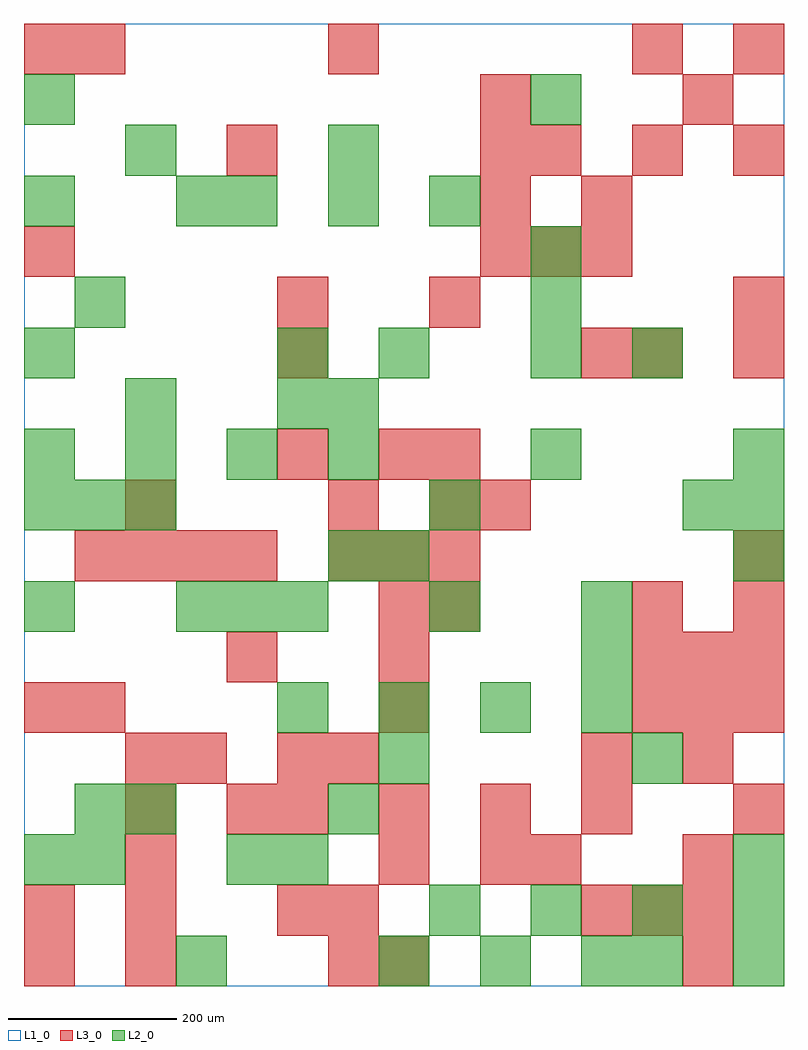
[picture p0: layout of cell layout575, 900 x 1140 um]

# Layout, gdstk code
import gdstk
lib = gdstk.Library(unit=1e-6, precision=1e-09)
def R(c, l, rs):  # rectangles x0, y0, x1, y1
    for r in rs: c.add(gdstk.rectangle(r[:2], r[2:], *l))
def A(c, l, x, y, w, h, nx, ny, dx, dy):  # array of equal rectangles
    R(c, l, [(x+i*dx, y+j*dy, x+i*dx+w, y+j*dy+h) for i in range(nx) for j in range(ny)])
L1_0 = (1, 0)
L2_0 = (2, 0)
L3_0 = (3, 0)

layout575 = lib.new_cell('layout575')
R(layout575, L1_0, [(0,0,900,1140)])
A(layout575, L2_0, 420, 0, 60, 60, 3, 1, 120, 0)
A(layout575, L2_0, 480, 60, 60, 60, 4, 1, 120, 0)
A(layout575, L2_0, 0, 120, 60, 60, 1, 3, 0, 300)
A(layout575, L2_0, 420, 240, 60, 60, 1, 3, 0, 240)
A(layout575, L2_0, 300, 300, 60, 60, 4, 1, 120, 0)
A(layout575, L2_0, 180, 420, 60, 60, 3, 1, 60, 0)
A(layout575, L2_0, 840, 480, 60, 60, 1, 3, 0, 60)
A(layout575, L2_0, 0, 540, 60, 60, 3, 1, 60, 0)
A(layout575, L2_0, 0, 600, 60, 60, 4, 1, 120, 0)
A(layout575, L2_0, 600, 720, 60, 60, 1, 3, 0, 60)
A(layout575, L2_0, 240, 900, 60, 60, 3, 1, 120, 0)
R(layout575, L2_0, [(180,0,240,60), (720,0,780,60), (840,0,900,60), (60,120,120,180), (240,120,300,180), (300,120,360,180), (840,120,900,180), (60,180,120,240), (120,180,180,240), (360,180,420,240), (720,240,780,300), (660,360,720,420), (480,420,540,480), (660,420,720,480), (360,480,420,540), (480,540,540,600), (780,540,840,600), (600,600,660,660), (120,660,180,720), (300,660,360,720), (360,660,420,720), (300,720,360,780), (720,720,780,780), (60,780,120,840), (0,900,60,960), (180,900,240,960), (120,960,180,1020), (360,960,420,1020), (0,1020,60,1080), (600,1020,660,1080)])
A(layout575, L3_0, 120, 0, 60, 60, 1, 5, 0, 60)
A(layout575, L3_0, 780, 0, 60, 60, 1, 3, 0, 120)
A(layout575, L3_0, 660, 60, 60, 60, 3, 1, 60, 0)
A(layout575, L3_0, 300, 180, 60, 60, 4, 1, 120, 0)
A(layout575, L3_0, 420, 300, 60, 60, 1, 3, 0, 60)
A(layout575, L3_0, 720, 300, 60, 60, 3, 2, 60, 60)
A(layout575, L3_0, 60, 480, 60, 60, 4, 1, 60, 0)
A(layout575, L3_0, 360, 480, 60, 60, 3, 1, 60, 0)
A(layout575, L3_0, 540, 840, 60, 60, 3, 1, 60, 0)
A(layout575, L3_0, 540, 900, 60, 60, 1, 3, 0, 60)
A(layout575, L3_0, 600, 960, 60, 60, 3, 1, 120, 0)
R(layout575, L3_0, [(0,0,60,60), (360,0,420,60), (420,0,480,60), (0,60,60,120), (300,60,360,120), (360,60,420,120), (420,120,480,180), (540,120,600,180), (600,120,660,180), (240,180,300,240), (840,180,900,240), (180,240,240,300), (300,240,360,300), (360,240,420,300), (660,240,720,300), (0,300,60,360), (60,300,120,360), (240,360,300,420), (480,420,540,480), (720,420,780,480), (840,420,900,480), (840,480,900,540), (120,540,180,600), (360,540,420,600), (480,540,540,600), (540,540,600,600), (300,600,360,660), (420,600,480,660), (480,600,540,660), (300,720,360,780), (660,720,720,780), (720,720,780,780), (840,720,900,780), (300,780,360,840), (480,780,540,840), (840,780,900,840), (0,840,60,900), (660,900,720,960), (240,960,300,1020), (780,1020,840,1080), (0,1080,60,1140), (60,1080,120,1140), (360,1080,420,1140), (720,1080,780,1140), (840,1080,900,1140)])

lib.write_gds('layout575.gds')
